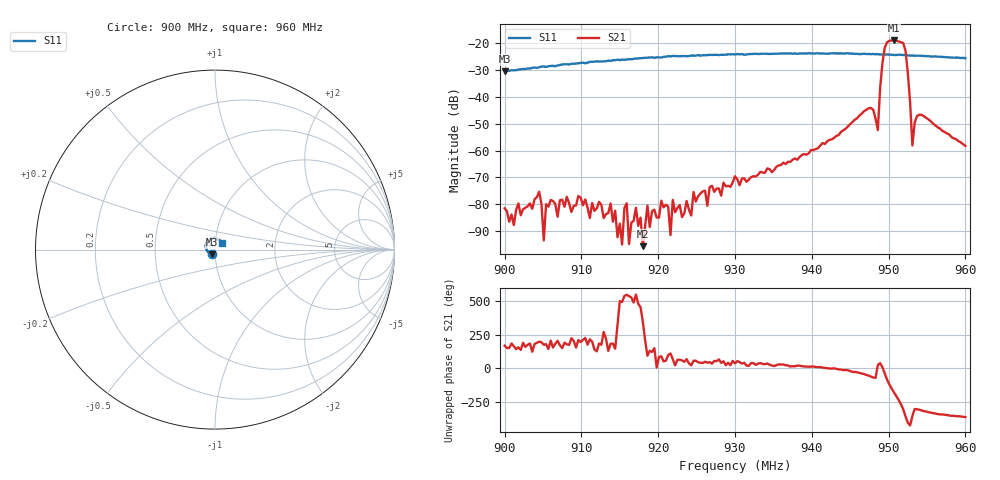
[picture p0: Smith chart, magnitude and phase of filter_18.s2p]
!File created by NanoVNA-F V2
# Hz S RI R 50
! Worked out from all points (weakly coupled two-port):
!   201 points, 900 MHz to 960 MHz, reference 50 ohm
!   highest |S21| = -18.96 dB at 950.7 MHz (marker M1); lowest = -95.7 dB at 918 MHz (marker M2)
!   lowest |S11| = -30.5 dB at 900 MHz (marker M3), VSWR 1.06, Z = 48.4 - j2.44 ohm
!   |S11| at or under -10 dB: start of sweep to end of sweep
!   S12 and S22 are empty: the file has one direction only
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9e8  -0.0161 -0.0252  -8.2e-05 1.7e-05  0 0  0 0
9.045e8  -0.0293 -0.02  -0.000162 -5.4e-05  0 0  0 0
9.048e8  -0.031 -0.0199  -9.8e-05 -2.3e-05  0 0  0 0
9.102e8  -0.0426 -0.00861  -8.2e-05 -4.9e-05  0 0  0 0
9.18e8  -0.0513 0.0141  1.6e-05 -4e-06  0 0  0 0
9.201e8  -0.0501 0.0215  6e-06 5.6e-05  0 0  0 0
9.261e8  -0.0461 0.0379  0.000118 0.000134  0 0  0 0
9.264e8  -0.0463 0.0381  7e-05 6.2e-05  0 0  0 0
9.267e8  -0.0465 0.0394  0.000146 0.00015  0 0  0 0
9.282e8  -0.0429 0.0431  0.00011 9.3e-05  0 0  0 0
9.3e8  -0.0399 0.0473  0.000267 0.000197  0 0  0 0
9.402e8  -0.0143 0.0627  0.000995 0.000234  0 0  0 0
9.474e8  0.00684 0.0627  0.00354 -0.00502  0 0  0 0
9.486e8  0.00977 0.0616  0.0022 0.000972  0 0  0 0
9.492e8  0.0147 0.0598  0.0427 0.00543  0 0  0 0
9.501e8  0.015 0.0593  -0.0557 -0.096  0 0  0 0
9.507e8  0.016 0.0581  -0.1127 -0.00108  0 0  0 0
9.522e8  0.0199 0.0568  0.0727 0.00262  0 0  0 0
9.531e8  0.0226 0.0547  0.00124 0.000112  0 0  0 0
9.534e8  0.0245 0.053  0.00183 0.0028  0 0  0 0
9.54e8  0.0252 0.0528  0.00293 0.00361  0 0  0 0
9.6e8  0.0363 0.0381  0.00122 -7.9e-05  0 0  0 0
